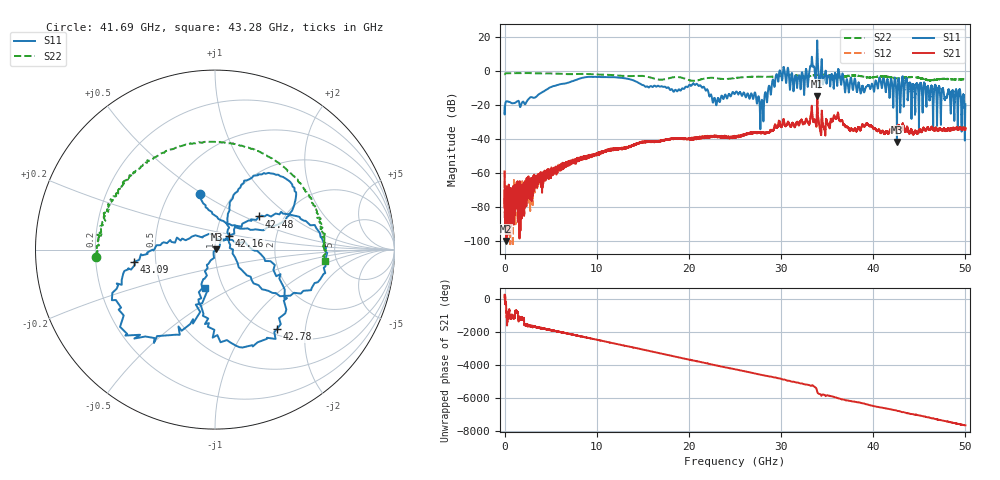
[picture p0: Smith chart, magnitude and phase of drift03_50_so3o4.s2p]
!Created with skrf (http://scikit-rf.org).
# Hz S RI R 50.0
!freq ReS11 ImS11 ReS21 ImS21 ReS12 ImS12 ReS22 ImS22
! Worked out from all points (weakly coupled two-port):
!   10001 points, 300 kHz to 50 GHz, reference 50 ohm
!   highest |S21| = -14.96 dB at 33.92 GHz (marker M1); lowest = -99.8 dB at 190.3 MHz (marker M2)
!   lowest |S11| = -41.7 dB at 42.57 GHz (marker M3), VSWR 1.02, Z = 50.8 + j0.0819 ohm
!   |S11| at or under -10 dB: start of sweep to 4.849 GHz; 21.69 GHz to 28.62 GHz (6.935 GHz wide, 27.6 % of centre); 47.19 GHz to end of sweep (the widest 3 of 41)
!   |S22| runs from -5.9 to -1.3 dB; largest |S21 - S12| = 0.022
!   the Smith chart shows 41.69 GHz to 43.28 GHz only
!   S11 on the Smith chart (normalised r, x): 41.69 GHz: 0.70, +0.49; 42.16 GHz: 1.16, +0.18; 42.48 GHz: 1.50, +0.61; 42.78 GHz: 1.10, -1.42; 43.09 GHz: 0.38, -0.06; 43.28 GHz: 0.82, -0.36
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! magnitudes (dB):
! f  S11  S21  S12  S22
! 300 kHz  -21.4  -59.4  -58.4  -2.1
! 190.3 MHz  -17.9  -99.8  -74.6  -1.5
! 8.335 GHz  -4.3  -50.7  -51.1  -1.9
! 16.67 GHz  -8.8  -41.4  -41.3  -5.2
! 21.01 GHz  -8.7  -39.2  -39.5  -5.5
! 22.81 GHz  -16.1  -38.8  -38.6  -4.2
! 25 GHz  -13.4  -38.7  -39.0  -4.3
! 27.92 GHz  -17.1  -36.5  -36.3  -3.5
! 29.69 GHz  -6.4  -32.3  -31.7  -3.1
! 32.32 GHz  -1.5  -30.5  -30.7  -3.3
! 33.34 GHz  8.0  -20.5  -20.9  -2.9
! 33.92 GHz  17.7  -15.0  -15.4  -2.5
! 38.82 GHz  -8.9  -31.6  -31.7  -3.3
! 41.67 GHz  -9.0  -36.7  -36.5  -3.7
! 41.69 GHz  -9.8  -36.8  -36.5  -3.6
! 42.16 GHz  -19.1  -34.9  -35.1  -4.1
! 42.48 GHz  -10.3  -35.0  -34.9  -4.4
! 42.57 GHz  -41.7  -34.9  -34.7  -4.5
! 42.78 GHz  -5.0  -32.0  -32.2  -4.5
! 43.09 GHz  -6.9  -34.6  -34.2  -4.4
! 43.28 GHz  -13.2  -32.5  -33.0  -4.2
! 50 GHz  -19.6  -34.5  -33.8  -5.0
